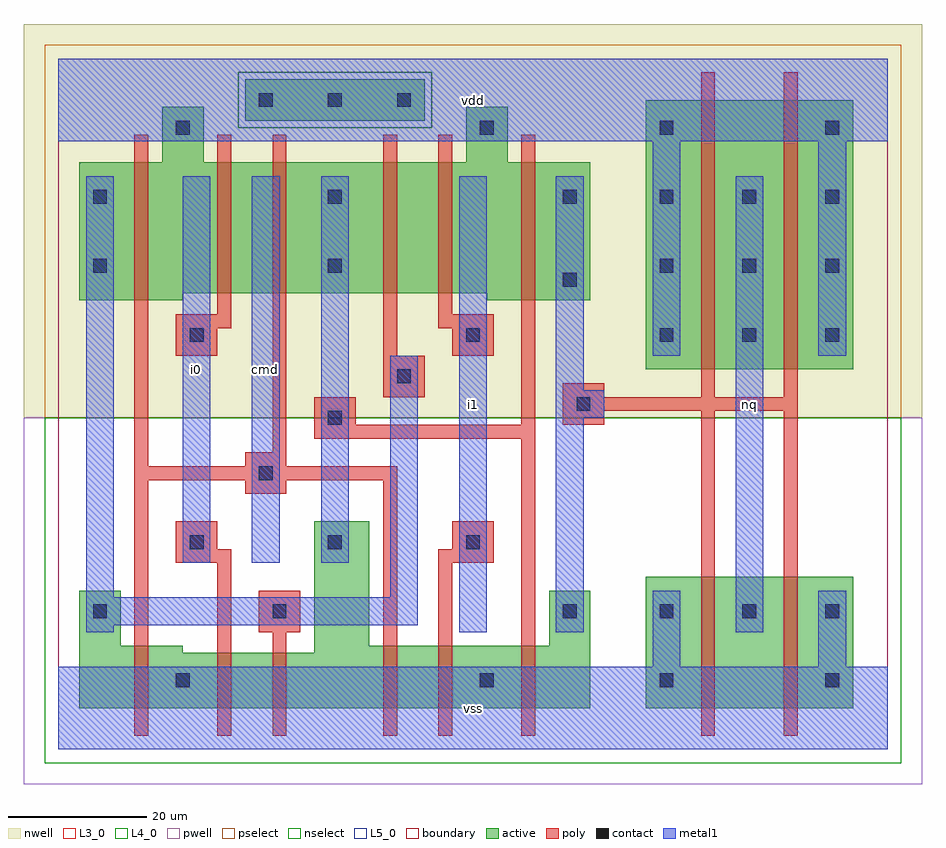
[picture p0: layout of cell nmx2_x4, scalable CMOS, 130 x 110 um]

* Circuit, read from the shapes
.subckt nmx2_x4 cmd i0 i1 nq vdd vss
M1 vss cmd n1 VSUBS nfet w=9u l=2u
M2 n2 i0 vss VSUBS nfet w=8u l=2u
M3 n3 n1 n2 VSUBS nfet w=8u l=2u
M4 n4 cmd n3 VSUBS nfet w=9u l=2u
M5 vss i1 n4 VSUBS nfet w=9u l=2u
M6 n5 n3 vss VSUBS nfet w=9u l=2u
M7 nq n5 vss VSUBS nfet w=19u l=2u m=2
M8 vdd cmd n1 vdd pfet w=20u l=2u
M9 n6 i0 vdd vdd pfet w=19u l=2u
M10 n3 cmd n6 vdd pfet w=19u l=2u
M11 n7 n1 n3 vdd pfet w=19u l=2u
M12 vdd i1 n7 vdd pfet w=19u l=2u
M13 n5 n3 vdd vdd pfet w=20u l=2u
M14 nq n5 vdd vdd pfet w=39u l=2u m=2
.ends

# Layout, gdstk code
import gdstk
lib = gdstk.Library(unit=1e-6, precision=1e-09)
def R(c, l, rs):  # rectangles x0, y0, x1, y1
    for r in rs: c.add(gdstk.rectangle(r[:2], r[2:], *l))
def A(c, l, x, y, w, h, nx, ny, dx, dy):  # array of equal rectangles
    R(c, l, [(x+i*dx, y+j*dy, x+i*dx+w, y+j*dy+h) for i in range(nx) for j in range(ny)])
L3_0 = (3, 0)
L4_0 = (4, 0)
L5_0 = (5, 0)
contact = (25, 0)
pwell = (41, 0)
nwell = (42, 0)
active = (43, 0)
pselect = (44, 0)
nselect = (45, 0)
poly = (46, 0)
metal1 = (49, 0)
boundary = (63, 0)

nmx2_x4 = lib.new_cell('nmx2_x4')
R(nmx2_x4, L3_0, [(3,6,77,14), (85,6,115,25), (3,14,18,15), (37,14,77,15), (3,15,9,23), (37,15,45,33), (71,15,77,23)])
R(nmx2_x4, L4_0, [(85,55,115,94), (3,65,18,66), (62,65,77,66), (3,66,77,85), (15,85,21,93), (59,85,65,93)])
R(nmx2_x4, L5_0, [(27,91,53,97)])
A(nmx2_x4, contact, 87, 19, 2, 2, 3, 2, 12, 40)
A(nmx2_x4, contact, 19, 29, 2, 2, 3, 1, 20, 0)
A(nmx2_x4, contact, 87, 69, 2, 2, 3, 2, 12, 10)
A(nmx2_x4, contact, 5, 79, 2, 2, 3, 1, 34, 0)
A(nmx2_x4, contact, 29, 93, 2, 2, 3, 1, 10, 0)
R(nmx2_x4, contact, [(17,9,19,11), (61,9,63,11), (87,9,89,11), (111,9,113,11), (5,19,7,21), (31,19,33,21), (73,19,75,21), (29,39,31,41), (39,47,41,49), (75,49,77,51), (49,53,51,55), (19,59,21,61), (59,59,61,61), (73,67,75,69), (5,69,7,71), (39,69,41,71), (17,89,19,91), (61,89,63,91), (87,89,89,91), (111,89,113,91)])
R(nmx2_x4, pwell, [(-5,-5,125,48)])
R(nmx2_x4, nwell, [(-5,48,125,105)])
R(nmx2_x4, active, [(3,6,77,14), (85,6,115,25), (3,14,18,15), (37,14,77,15), (3,15,9,23), (37,15,45,33), (71,15,77,23), (85,55,115,94), (3,65,18,66), (62,65,77,66), (3,66,77,85), (15,85,21,93), (59,85,65,93), (27,91,53,97)])
R(nmx2_x4, pselect, [(-2,48,122,90), (-2,90,26,98), (54,90,122,98), (-2,98,122,102)])
R(nmx2_x4, nselect, [(-2,-2,122,48), (26,90,54,98)])
R(nmx2_x4, poly, [(11,2,13,39), (23,2,25,27), (31,2,33,17), (47,2,49,39), (55,2,57,27), (67,2,69,45), (93,2,95,49), (105,2,107,49), (29,17,35,23), (17,27,25,29), (55,27,63,29), (17,29,23,33), (57,29,63,33), (27,37,33,39), (11,39,49,41), (11,41,13,89), (27,41,33,43), (31,43,33,89), (37,45,69,47), (37,47,43,51), (67,47,69,89), (73,47,79,49), (73,49,107,51), (47,51,53,57), (73,51,79,53), (93,51,95,98), (105,51,107,98), (17,57,23,61), (47,57,49,89), (57,57,63,61), (17,61,25,63), (55,61,63,63), (23,63,25,89), (55,63,57,89)])
A(nmx2_x4, metal1, 18, 27, 4, 56, 3, 1, 10, 0)
R(nmx2_x4, metal1, [(0,0,120,12), (86,12,90,23), (110,12,114,23), (4,17,8,18), (58,17,62,83), (72,17,76,48), (98,17,102,83), (4,18,52,22), (4,22,8,83), (48,22,52,57), (72,48,79,52), (72,52,76,83), (86,57,90,88), (110,57,114,88), (0,88,120,100)])
R(nmx2_x4, boundary, [(0,0,120,100)])
nmx2_x4.add(gdstk.Label('i0', (20,55), layer=49, texttype=0))
nmx2_x4.add(gdstk.Label('cmd', (30,55), layer=49, texttype=0))
nmx2_x4.add(gdstk.Label('vss', (60,6), layer=49, texttype=0))
nmx2_x4.add(gdstk.Label('i1', (60,50), layer=49, texttype=0))
nmx2_x4.add(gdstk.Label('vdd', (60,94), layer=49, texttype=0))
nmx2_x4.add(gdstk.Label('nq', (100,50), layer=49, texttype=0))

lib.write_gds('nmx2_x4.gds')
